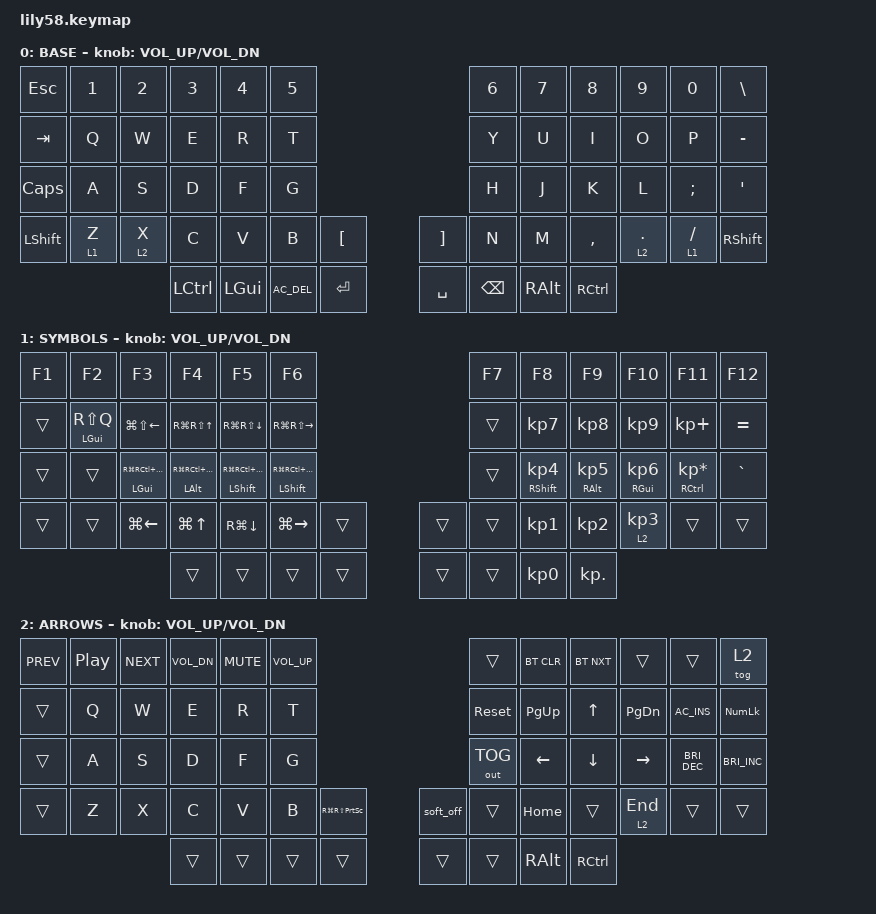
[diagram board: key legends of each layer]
/*
 * Copyright (c) 2020 The ZMK Contributors
 *
 * SPDX-License-Identifier: MIT
 */

#include <behaviors.dtsi>
#include <dt-bindings/zmk/keys.h>
#include <dt-bindings/zmk/bt.h>
#include <dt-bindings/zmk/ext_power.h>
#include <dt-bindings/zmk/outputs.h>

&soft_off {
    hold-time-ms = <2000>; // Only turn off it the key is held for 2 seconds or longer.
};

/ {
//    sensors {
//        compatible = "zmk,keymap-sensors";
//        sensors = <&left_encoder &right_encoder>;
//        triggers-per-rotation = <20>;
//    };
    behaviors {
        rpi: require_prior_idle {
            compatible = "zmk,behavior-hold-tap";
            #binding-cells = <2>;
            flavor = "tap-preferred";
            tapping-term-ms = <200>;
            quick-tap-ms = <200>;
            require-prior-idle-ms = <125>;
            bindings = <&kp>, <&kp>;
        };
    };

    combos {
        compatible = "zmk,combos";
        combo_symbols {
            timeout-ms = <50>;
            key-positions = <53 42>;
            bindings = <&tog 1>;
        };
        combo_arrows {
            timeout-ms = <50>;
            key-positions = <54 43>;
            bindings = <&tog 2>;
        };
    };

    keymap {
        compatible = "zmk,keymap";

        default_layer {
            display-name = "BASE";
            bindings = <
// |--------------------------------------------------------------------------|                         |---------------------------------------------------------------------------|
// |  ESC    |  1         |  2         |  3        |  4          |     5      |                         |  6       |    7       |  8        |  9         |   0          |    "\"    |
     &kp ESC     &kp N1     &kp N2       &kp N3       &kp N4         &kp N5                               &kp N6       &kp N7      &kp N8     &kp N9       &kp N0          &kp BSLH
// |---------|------------|------------|-----------|-------------|------------|                         |----------|------------|-----------|------------|--------------|-----------|
// |  TAB    |  Q         |  W         |  E        |  R          |     T      |                         |  Y       |    U       |  I        |  O         |   P          |    -      |
     &kp TAB    &kp Q        &kp W        &kp E       &kp R           &kp T                                &kp Y        &kp U      &kp I         &kp O        &kp P        &kp MINUS
// |---------|------------|------------|-----------|-------------|------------|                         |----------|------------|-----------|------------|--------------|-----------|
// |  CAPS   |  A         |  S         |  D        |  F          |     G      |                         |  H       |  J         |  K        |  L         |   ;          |    '      |
    &kp CAPS    &kp A        &kp S        &kp D       &kp F          &kp G                                &kp H        &kp J       &kp K       &kp L        &kp SEMI       &kp SQT
// |---------|------------|------------|-----------|-------------|------------|------------| |----------|----------|------------|-----------|------------|--------------|-----------|
// |  SHIFT  | Z & Lower  |  X & Upper |  C        |  V          |     B      |     "["    | |    "]"   |  N       |    M       |     ,     |  . & Upper |   / & Lower  |  Shift    |
   &kp LSHIFT  &lt 1 Z       &lt 2 X      &kp C         &kp V        &kp B       &kp LBKT      &kp RBKT   &kp N        &kp M     &kp COMMA    &lt 2 DOT    &lt 1 FSLH    &kp RSHIFT
// |-----------------------------------|-----------|-------------|------------|------------| |----------|----------|------------|-----------|------------|--------------|-----------|
//                                     |  CTRL     |    SUPER    |   DELETE   |    ENTER   | |  SPACE   | BACKSPACE|   ALT    |  CTRL       |
                                         &kp LCTRL     &kp LGUI   &kp C_AC_DEL   &kp RET      &kp SPACE   &kp BSPC   &kp RALT    &kp RCTRL
//                                     |---------------------------------------------------| |----------------------------------------------|
            >;

            sensor-bindings = <&inc_dec_kp C_VOL_UP C_VOL_DN>;
        };

        lower_layer {
            display-name = "SYMBOLS";
            bindings = <
// |-------------------------------------------------------------------------------------------------------------|                   |-----------------------------------------------------------------------------------------------------|
// |   F1    |  F2           |            F3            |           F4           |      F5         |    F6       |                   |     F7      |         F8         |      F9       |      F10      |       F11      |       F12       |
     &kp F1      &kp F2               &kp F3                     &kp F4              &kp F5            &kp F6                           &kp F7           &kp F8             &kp F9          &kp F10          &kp F11          &kp F12
// |---------|---------------|--------------------------|------------------------|-----------------|-------------|                   |-------------|--------------------|---------------|---------------|----------------|-----------------|
// |         | Close Window  |      MV APP LEFT         |       MV APP UP        |  MV APP DOWN    | MV APP RIGHT|                   |             |         7          |       8       |       9       |      "+"       |       "="       |
      &trans  &rpi LGUI RS(Q)    &kp LG(LS(LEFT))            &kp RG(RS(UP))      &kp RG(RS(DOWN))   &kp RG(RS(RIGHT))                    &trans          &kp KP_N7       &kp KP_N8        &kp KP_N9       &kp KP_PLUS         &kp EQUAL
// |---------|---------------|--------------------------|------------------------|-----------------|-------------|                   |-------------|--------------------|---------------|---------------|----------------|-----------------|
// |         |               |      MV WKSPC LEFT       |      MV WKSPC UP       |  MV WKSPC DOWN  |MV WKSPC RIGHT|                  |             |         4          |       5       |       6       |      "*"       |       "`"       |
      &trans  &trans  &rpi LGUI RG(RC(RS(LEFT))) &rpi LALT RG(RC(RS(UP))) &rpi LSHIFT RG(RC(RS(DOWN))) &rpi LSHIFT RG(RC(RS(RIGHT)))     &trans     &rpi RSHIFT KP_N4   &rpi RALT KP_N5 &rpi RGUI KP_N6  &rpi RCTRL KP_MULTIPLY &kp GRAVE
// |---------|---------------|--------------------------|------------------------|-----------------|-------------|--------|  |--------|------------|--------------------|---------------|---------------|----------------|-----------------|
// |         |               |       PREV COLUMN        |    PREV WORKSPACE      |    NEXT WKSPC   | NEXT COLUMN |        |  |        |            |         1          |      2        |      3        |       "/"      |                 |
      &trans     &trans              &kp LG(LEFT)               &kp LG(UP)          &kp RG(DOWN)    &kp LG(RIGHT)  &trans      &trans    &trans          &kp KP_N1         &kp KP_N2       &lt 2 KP_N3        &trans           &trans
// |---------|---------------|--------------------------|------------------------|-----------------|-------------|--------|  |--------|------------|--------------------|---------------|---------------|----------------|-----------------|
//                                                      |                        |                 |             |        |  |        |            |          0         |      "."      |
                                                                   &trans               &trans           &trans    &trans      &trans     &trans          &kp KP_N0        &kp KP_DOT
//                                                      |-----------------------------------------------------------------|  |----------------------------------------------------------|
            >;

            sensor-bindings = <&inc_dec_kp C_VOL_UP C_VOL_DN>;
        };

        raise_layer {
            display-name = "ARROWS";
            bindings = <
// |------------------------------------------------------------------------------------|                                     |--------------------------------------------------------------------------------------|
// | MediaBack |   MediaPause   |   MediaFwd   |   Volume-    |    Mute    |   Volume+  |                                     |            | Clear BT |   BTNEXT  |           |                       |    RAISE     |
    &kp C_PREV  &kp C_PLAY_PAUSE   &kp C_NEXT    &kp C_VOL_DN   &kp C_MUTE  &kp C_VOL_UP                                          &trans    &bt BT_CLR  &bt BT_NXT    &trans            &trans             &tog 2
// |-----------|----------------|--------------|--------------|------------|------------|                                     |------------|----------|-----------|-----------|-----------------------|--------------|
// |           |       Q        |     W        |      E       |     R      |     T      |                                     |   RESET    |  Page Up |    "^"    | Page Down |         INS           |    NUMLOCK   |
      &trans        &kp Q            &kp W          &kp E         &kp R         &kp T                                           &sys_reset    &kp PG_UP  &kp UP      &kp PG_DN      &kp C_AC_INS        &kp KP_NUM
// |-----------|----------------|--------------|--------------|------------|------------|                                     |------------|----------|-----------|-----------|-----------------------|--------------|
// |           |       A        |     S        |     D        |     F      |     G      |                                     |   OUT TOG  |   "<-"   |     v     |   "->"    |      DecBright        |  IncBright   |
      &trans        &kp A            &kp S          &kp D          &kp F         &kp G                                         &out OUT_TOG  &kp LEFT   &kp DOWN    &kp RIGHT      &kp C_BRI_DEC        &kp C_BRI_INC
// |-----------|----------------|--------------|--------------|------------|------------|----------------------| |------------|----------|-----------|-----------|------------|-----------------------|--------------|
// |           |     Z          |      X       |      C       |    V       |     B      |      SCREENSHOT      | |  SFT OFF |            |   Home    |           |   End      |                       |              |
      &trans        &kp Z            &kp X          &kp C         &kp V       &kp B     &kp RG(RS(PRINTSCREEN))    &soft_off   &trans      &kp HOME      &trans     &lt 2 END           &trans              &trans
// |-----------|----------------|--------------|--------------|------------|------------|----------------------| |------------|----------|-----------|-----------|------------|-----------------------|--------------|
//                                             |              |            |            |                      | |          |            |  ALT   |    CTRL   |
                                                   &trans     &trans        &trans            &trans              &trans     &trans     &kp RALT   &kp RCTRL
//                                             |---------------------------------------------------------------| |----------------------------------------------|
            >;

            sensor-bindings = <&inc_dec_kp C_VOL_UP C_VOL_DN>;
        };
    };
};
